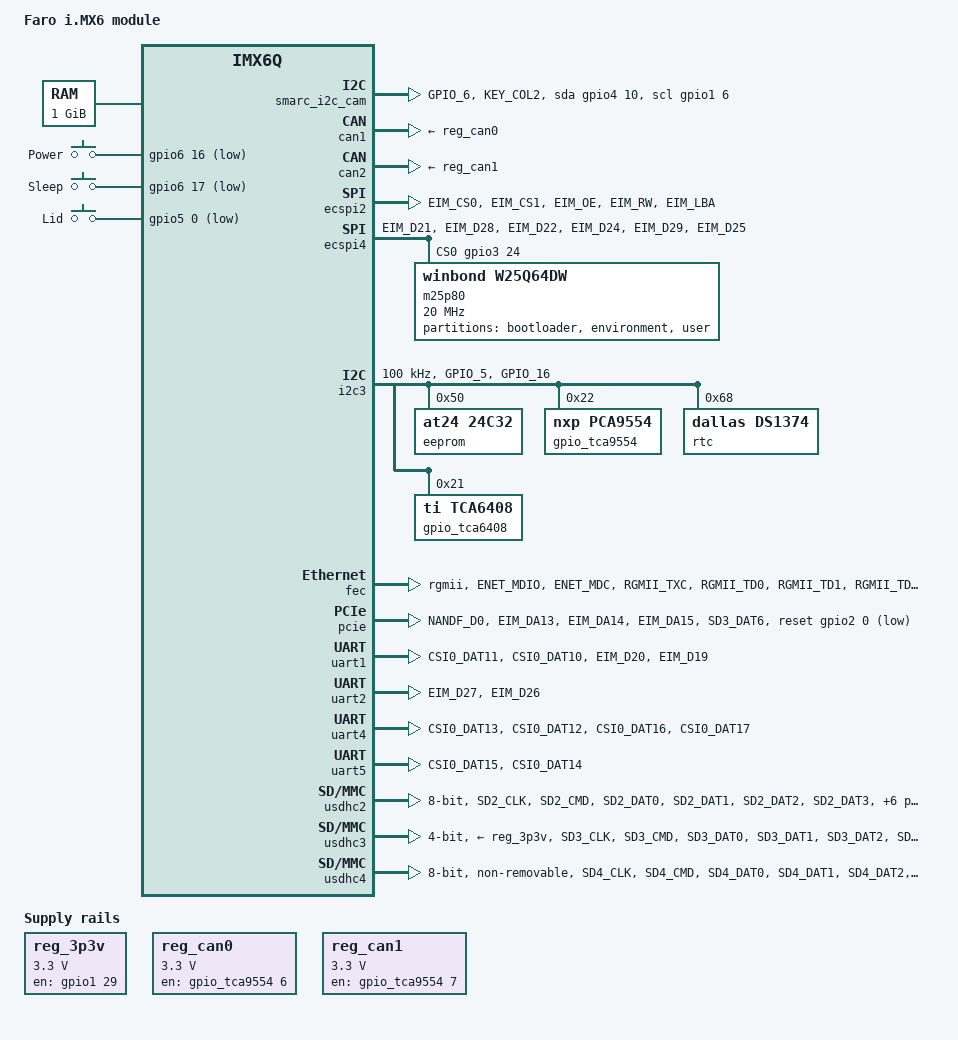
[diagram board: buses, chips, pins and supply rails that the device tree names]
/*
 * The code contained herein is licensed under the GNU General Public
 * License. You may obtain a copy of the GNU General Public License
 * Version 2 or later at the following locations:
 *
 * http://www.opensource.org/licenses/gpl-license.html
 * http://www.gnu.org/copyleft/gpl.html
 */
/dts-v1/;

#include "imx6q.dtsi"
#include <dt-bindings/gpio/gpio.h>

/ {
	model = "Faro i.MX6 module";
	compatible = "faro,imx6q-smx6", "fsl,imx6q";

	aliases {
		mmc0 = &usdhc4;
		mmc2 = &usdhc3;
	};

	memory@10000000 {
		reg = <0x10000000 0x40000000>;
	};

	reg_3p3v: regulator-3p3v {
		compatible = "regulator-fixed";
		regulator-name = "3P3V";
		regulator-min-microvolt = <3300000>;
		regulator-max-microvolt = <3300000>;
		gpio = <&gpio1 29 GPIO_ACTIVE_HIGH>;
		enable-active-high;
	};

	reg_can0: regulator-can0 {
		compatible = "regulator-fixed";
		regulator-name = "CAN0_EN";
		regulator-min-microvolt = <3300000>;
		regulator-max-microvolt = <3300000>;
		gpio = <&gpio_tca9554 6 GPIO_ACTIVE_HIGH>;
		enable-active-high;
	};

	reg_can1: regulator-can1 {
		compatible = "regulator-fixed";
		regulator-name = "CAN1_EN";
		regulator-min-microvolt = <3300000>;
		regulator-max-microvolt = <3300000>;
		gpio = <&gpio_tca9554 7 GPIO_ACTIVE_HIGH>;
		enable-active-high;
	};

	gpio-keys {
		compatible = "gpio-keys";
		pinctrl-names = "default";
		pinctrl-0 = <&pinctrl_keys>;
		power {
			label = "Power";
			gpios = <&gpio6 16 1>;
			linux,code = <116>; /* KEY_POWER */
			gpio-key,wakeup;
			debounce-interval = <1>;
		};

		sleep {
			label = "Sleep";
			gpios = <&gpio6 17 1>;
			linux,code = <142>; /* KEY_SLEEP */
			gpio-key,wakeup;
			debounce-interval = <1>;
		};

		lid {
			label = "Lid";
			gpios = <&gpio5 0 1>;
			linux,input-type = <5>; /* EV_SW */
			linux,code = <0>; /* SW_LID */
			gpio-key,wakeup;
			debounce-interval = <1>;
		};
	};

	smarc_i2c_cam: i2c-gpio-1 {
		compatible = "i2c-gpio";
		pinctrl-names = "default";
		pinctrl-0 = <&pinctrl_smx6_i2c_gpio_1>;
		gpios =
			<&gpio4 10 0>, /* sda */
			<&gpio1 6 0>;  /* scl */
		#address-cells = <1>;
		#size-cells = <0>;
		i2c-gpio,delay-us = <2>;
	};
};

&can1 {
	xceiver-supply = <&reg_can0>;
	status = "okay";
};

&can2 {
	xceiver-supply = <&reg_can1>;
	status = "okay";
};

&ecspi2 {
	pinctrl-names = "default";
	pinctrl-0 = <&pinctrl_ecspi2>;
	fsl,spi-num-chipselects = <2>;
	cs-gpios = <&gpio2 26 0>, <&gpio2 27 0>;
	status = "okay";
};

&ecspi4 {
	pinctrl-names = "default";
	pinctrl-0 = <&pinctrl_ecspi4>;
	fsl,spi-num-chipselects = <3>;
	cs-gpios = <&gpio3 24 0>, <&gpio3 29 0>, <&gpio3 25 0>;
	status = "okay";

	m25p80@0 {
		#address-cells = <1>;
		#size-cells = <1>;
		compatible = "winbond,w25q64dw";
		spi-max-frequency = <20000000>;
		reg = <0>;

		partition@0 {
			label = "bootloader";
			reg = <0x000000 0x0c0000>;
			read-only;
		};
		partition@c0000 {
			label = "environment";
			reg = <0x0c0000 0x010000>;
		};
		partition@d0000 {
			label = "user";
			reg = <0x0d0000 0x730000>;
		};
	};
};

&i2c3 {
	clock-frequency = <100000>;
	pinctrl-names = "default";
	pinctrl-0 = <&pinctrl_i2c3>;
	status = "okay";

	eeprom: at24@50 {
		compatible = "at24,24c32";
		pagesize = <8>;
		reg = <0x50>;
	};

	gpio_tca9554: tca9554@22 {
		compatible = "nxp,pca9554";
		reg = <0x22>;
		gpio-controller;
		#gpio-cells = <2>;
	};

	rtc: rtc@68 {
		compatible = "dallas,ds1374";
		reg = <0x68>;
	};

	gpio_tca6408: tca6408@21 {
            compatible = "ti,tca6408";
            reg = <0x21>;
            gpio-controller;
            #gpio-cells = <2>;
        };
};

&fec {
        pinctrl-names = "default";
        pinctrl-0 = <&pinctrl_enet>;
        phy-mode = "rgmii";
        status = "okay";
};

&pcie {
	pinctrl-names = "default";
	pinctrl-0 = <&pinctrl_pcie>;
	reset-gpio = <&gpio2 0  GPIO_ACTIVE_LOW>,
		     <&gpio3 13 GPIO_ACTIVE_LOW>,
		     <&gpio3 14 GPIO_ACTIVE_LOW>,
		     <&gpio3 15 GPIO_ACTIVE_LOW>;
	status = "okay";
};

&uart1 {
	pinctrl-names = "default";
	pinctrl-0 = <&pinctrl_uart1>;
	fsl,uart-has-rtscts;
	status = "okay";
};

&uart2 {
	pinctrl-names = "default";
	pinctrl-0 = <&pinctrl_uart2>;
	status = "okay";
};

&uart4 {
	pinctrl-names = "default";
	pinctrl-0 = <&pinctrl_uart4>;
	fsl,uart-has-rtscts;
	status = "okay";
};

&uart5 {
	pinctrl-names = "default";
	pinctrl-0 = <&pinctrl_uart5>;
	status = "okay";
};

&usdhc2 {
	pinctrl-names = "default";
	pinctrl-0 = <&pinctrl_usdhc2>;
	bus-width = <8>;
	cd-gpios = <&gpio1 4 GPIO_ACTIVE_LOW>;
};

&usdhc3 {
	pinctrl-names = "default";
	pinctrl-0 = <&pinctrl_usdhc3>;
	bus-width = <4>;
	cd-gpios = <&gpio6 14 GPIO_ACTIVE_LOW>;
	wp-gpios = <&gpio1 26 GPIO_ACTIVE_HIGH>;
	vmmc-supply = <&reg_3p3v>;
	status = "okay";
};

&usdhc4 {
	pinctrl-names = "default";
	pinctrl-0 = <&pinctrl_usdhc4>;
	bus-width = <8>;
	no-1-8-v;
	non-removable;
	status = "okay";
};

&iomuxc {
	pinctrl_i2c3: i2c3grp {
		fsl,pins = <
			MX6QDL_PAD_GPIO_5__I2C3_SCL  		0x4001b8b1
			MX6QDL_PAD_GPIO_16__I2C3_SDA 		0x4001b8b1
		>;
	};

	pinctrl_smx6_i2c_gpio_1: i2c-gpio-1grp-smx6 {
		fsl,pins = <
			/* SCL GPIO */
			MX6QDL_PAD_GPIO_6__GPIO1_IO06   	0x80000000
			/* SDA GPIO */
			MX6QDL_PAD_KEY_COL2__GPIO4_IO10 	0x80000000
		>;
	};

	pinctrl_enet: fecgrp {
		fsl,pins = <
			MX6QDL_PAD_ENET_MDIO__ENET_MDIO		0x1b0b0
			MX6QDL_PAD_ENET_MDC__ENET_MDC		0x1b0b0
			MX6QDL_PAD_RGMII_TXC__RGMII_TXC		0x1b0b0
			MX6QDL_PAD_RGMII_TD0__RGMII_TD0		0x1b0b0
			MX6QDL_PAD_RGMII_TD1__RGMII_TD1		0x1b0b0
			MX6QDL_PAD_RGMII_TD2__RGMII_TD2		0x1b0b0
			MX6QDL_PAD_RGMII_TD3__RGMII_TD3		0x1b0b0
			MX6QDL_PAD_RGMII_TX_CTL__RGMII_TX_CTL	0x1b0b0
			MX6QDL_PAD_ENET_REF_CLK__ENET_TX_CLK	0x1b0b0
			MX6QDL_PAD_RGMII_RXC__RGMII_RXC		0x1b0b0
			MX6QDL_PAD_RGMII_RD0__RGMII_RD0		0x1b0b0
			MX6QDL_PAD_RGMII_RD1__RGMII_RD1		0x1b0b0
			MX6QDL_PAD_RGMII_RD2__RGMII_RD2		0x1b0b0
			MX6QDL_PAD_RGMII_RD3__RGMII_RD3		0x1b0b0
			MX6QDL_PAD_RGMII_RX_CTL__RGMII_RX_CTL	0x1b0b0
		>;
	};

	pinctrl_ecspi2: ecspi2grp-smx6 {
		fsl,pins = <
			MX6QDL_PAD_EIM_CS0__ECSPI2_SCLK		0x80000000
			MX6QDL_PAD_EIM_CS1__ECSPI2_MOSI		0x80000000
			MX6QDL_PAD_EIM_OE__ECSPI2_MISO		0x80000000
			MX6QDL_PAD_EIM_RW__GPIO2_IO26		0x80000000
			MX6QDL_PAD_EIM_LBA__GPIO2_IO27		0x80000000
		>;
	};

	pinctrl_ecspi4: ecspi4grp-smx6 {
		fsl,pins = <
			MX6QDL_PAD_EIM_D21__ECSPI4_SCLK		0x80000000
			MX6QDL_PAD_EIM_D28__ECSPI4_MOSI		0x80000000
			MX6QDL_PAD_EIM_D22__ECSPI4_MISO		0x80000000
			MX6QDL_PAD_EIM_D24__GPIO3_IO24		0x80000000
			MX6QDL_PAD_EIM_D29__GPIO3_IO29		0x80000000
			MX6QDL_PAD_EIM_D25__GPIO3_IO25		0x80000000
		>;
	};

	pinctrl_keys: keysgrp-smx6 {
		fsl,pins = <
			/* Power Button */
			MX6QDL_PAD_NANDF_CS3__GPIO6_IO16	0x80000000
			/* SLEEP# */
			MX6QDL_PAD_SD3_DAT7__GPIO6_IO17		0x80000000
			/* LID# */
			MX6QDL_PAD_EIM_WAIT__GPIO5_IO00		0x80000000
		>;
	};

	pinctrl_ipu2_csi1: ipu2grp-csi1 {
		fsl,pins = <
			MX6QDL_PAD_EIM_A17__IPU2_CSI1_DATA12	0x0001B0B0
			MX6QDL_PAD_EIM_A18__IPU2_CSI1_DATA13	0x0001B0B0
			MX6QDL_PAD_EIM_A19__IPU2_CSI1_DATA14	0x0001B0B0
			MX6QDL_PAD_EIM_A20__IPU2_CSI1_DATA15	0x0001B0B0
			MX6QDL_PAD_EIM_A21__IPU2_CSI1_DATA16	0x0001B0B0
			MX6QDL_PAD_EIM_A22__IPU2_CSI1_DATA17	0x0001B0B0
			MX6QDL_PAD_EIM_A23__IPU2_CSI1_DATA18	0x0001B0B0
			MX6QDL_PAD_EIM_A24__IPU2_CSI1_DATA19	0x0001B0B0
			MX6QDL_PAD_EIM_D23__IPU2_CSI1_DATA_EN	0x0001B0B0
			MX6QDL_PAD_EIM_EB3__IPU2_CSI1_HSYNC	0x0001B0B0
			MX6QDL_PAD_EIM_DA12__IPU2_CSI1_VSYNC	0x0001B0B0
			MX6QDL_PAD_EIM_D17__IPU2_CSI1_PIXCLK	0x0001B0B0
		>;
	};

	pinctrl_pcie: pciegrp {
		fsl,pins = <
			/* RST_PCIE_(SWITCH,A,B,C)# */
			MX6QDL_PAD_NANDF_D0__GPIO2_IO00 	0x80000000
			MX6QDL_PAD_EIM_DA13__GPIO3_IO13 	0x80000000
			MX6QDL_PAD_EIM_DA14__GPIO3_IO14		0x80000000
			MX6QDL_PAD_EIM_DA15__GPIO3_IO15		0x80000000
			/* PCIE_WAKE# */
			MX6QDL_PAD_SD3_DAT6__GPIO6_IO18		0x80000000
		>;
	};

	pinctrl_uart1: uart1grp {
		fsl,pins = <
			MX6QDL_PAD_CSI0_DAT11__UART1_RX_DATA	0x1b0b1
			MX6QDL_PAD_CSI0_DAT10__UART1_TX_DATA	0x1b0b1
			MX6QDL_PAD_EIM_D20__UART1_RTS_B		0x1b0b1
			MX6QDL_PAD_EIM_D19__UART1_CTS_B		0x1b0b1
		>;
	};

	pinctrl_uart2: uart2grp {
		fsl,pins = <
			MX6QDL_PAD_EIM_D27__UART2_RX_DATA	0x1b0b1
			MX6QDL_PAD_EIM_D26__UART2_TX_DATA	0x1b0b1
		>;
	};

	pinctrl_uart4: uart4grp {
		fsl,pins = <
			MX6QDL_PAD_CSI0_DAT13__UART4_RX_DATA	0x1b0b1
			MX6QDL_PAD_CSI0_DAT12__UART4_TX_DATA	0x1b0b1
			MX6QDL_PAD_CSI0_DAT16__UART4_RTS_B	0x1b0b1
			MX6QDL_PAD_CSI0_DAT17__UART4_CTS_B	0x1b0b1
		>;
	};

	pinctrl_uart5: uart5grp {
		fsl,pins = <
			MX6QDL_PAD_CSI0_DAT15__UART5_RX_DATA	0x1b0b1
			MX6QDL_PAD_CSI0_DAT14__UART5_TX_DATA	0x1b0b1
		>;
	};

	pinctrl_usdhc2: usdhc2grp {
		fsl,pins = <
			MX6QDL_PAD_SD2_CLK__SD2_CLK		0x17059
			MX6QDL_PAD_SD2_CMD__SD2_CMD		0x17059
			MX6QDL_PAD_SD2_DAT0__SD2_DATA0		0x17059
			MX6QDL_PAD_SD2_DAT1__SD2_DATA1		0x17059
			MX6QDL_PAD_SD2_DAT2__SD2_DATA2		0x17059
			MX6QDL_PAD_SD2_DAT3__SD2_DATA3		0x17059
			MX6QDL_PAD_NANDF_D4__SD2_DATA4		0x17059
			MX6QDL_PAD_NANDF_D5__SD2_DATA5		0x17059
			MX6QDL_PAD_NANDF_D6__SD2_DATA6		0x17059
			MX6QDL_PAD_NANDF_D7__SD2_DATA7		0x17059
			MX6QDL_PAD_GPIO_4__GPIO1_IO04		0x80000000 /* CD */
		>;
	};

	pinctrl_usdhc3: usdhc3grp {
		fsl,pins = <
			MX6QDL_PAD_SD3_CLK__SD3_CLK		0x17059
			MX6QDL_PAD_SD3_CMD__SD3_CMD		0x17059
			MX6QDL_PAD_SD3_DAT0__SD3_DATA0		0x17059
			MX6QDL_PAD_SD3_DAT1__SD3_DATA1		0x17059
			MX6QDL_PAD_SD3_DAT2__SD3_DATA2		0x17059
			MX6QDL_PAD_SD3_DAT3__SD3_DATA3		0x17059
			MX6QDL_PAD_NANDF_CS1__GPIO6_IO14	0x80000000 /* CD */
			MX6QDL_PAD_ENET_RXD1__GPIO1_IO26	0x80000000 /* WP */
			MX6QDL_PAD_ENET_TXD1__GPIO1_IO29	0x80000000 /* PWR_EN */
		>;
	};

	pinctrl_usdhc4: usdhc4grp {
		fsl,pins = <
			MX6QDL_PAD_SD4_CLK__SD4_CLK		0x17059
			MX6QDL_PAD_SD4_CMD__SD4_CMD		0x17059
			MX6QDL_PAD_SD4_DAT0__SD4_DATA0		0x17059
			MX6QDL_PAD_SD4_DAT1__SD4_DATA1		0x17059
			MX6QDL_PAD_SD4_DAT2__SD4_DATA2		0x17059
			MX6QDL_PAD_SD4_DAT3__SD4_DATA3		0x17059
			MX6QDL_PAD_SD4_DAT4__SD4_DATA4		0x17059
			MX6QDL_PAD_SD4_DAT5__SD4_DATA5		0x17059
			MX6QDL_PAD_SD4_DAT6__SD4_DATA6		0x17059
			MX6QDL_PAD_SD4_DAT7__SD4_DATA7		0x17059
		>;
	};

	pinctrl_wdog1: wdoggrp {
		fsl,pins = <
			MX6QDL_PAD_GPIO_9__WDOG1_B		0x80000000
		>;
	};
};
